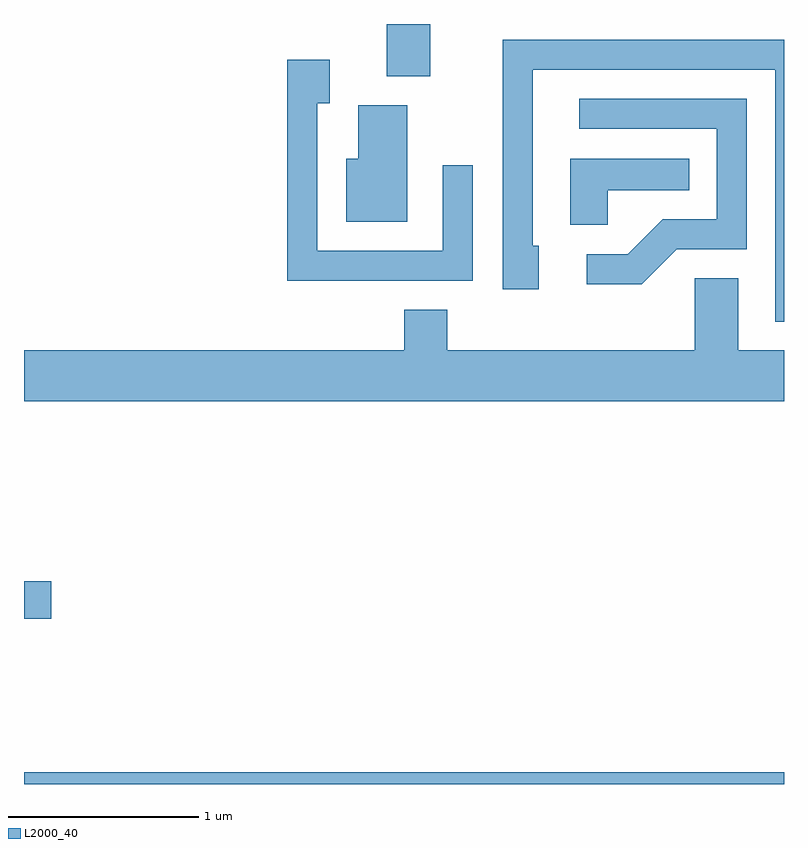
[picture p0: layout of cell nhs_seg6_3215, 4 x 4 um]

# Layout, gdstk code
import gdstk
lib = gdstk.Library(unit=1e-6, precision=1e-09)
def R(c, l, rs):  # rectangles x0, y0, x1, y1
    for r in rs: c.add(gdstk.rectangle(r[:2], r[2:], *l))
def P(c, l, *ps):  # polygons
    for p in ps: c.add(gdstk.Polygon(p, *l))
L2000_40 = (2000, 40)

nhs_seg6_3215 = lib.new_cell('nhs_seg6_3215')
R(nhs_seg6_3215, L2000_40, [(281.611,1630.162,285.611,1630.224), (281.611,1631.031,281.754,1631.229), (283.521,1633.886,283.749,1634.162)])
P(nhs_seg6_3215, L2000_40, [(285.611,1634.079),(284.131,1634.079),(284.131,1632.766),(284.319,1632.766),(284.319,1632.994),(284.289,1632.994),(284.289,1633.921),(285.566,1633.921),(285.566,1632.596),(285.611,1632.596)],
  [(283.974,1633.418),(283.816,1633.418),(283.816,1632.969),(283.154,1632.969),(283.154,1633.746),(283.219,1633.746),(283.219,1633.974),(282.996,1633.974),(282.996,1632.811),(283.974,1632.811)],
  [(285.047,1632.976),(285.414,1632.976),(285.414,1633.769),(284.533,1633.769),(284.533,1633.611),(285.256,1633.611),(285.256,1633.134),(284.974,1633.134),(284.789,1632.949),(284.573,1632.949),(284.573,1632.791),(284.862,1632.791)],
  [(283.629,1633.734),(283.371,1633.734),(283.371,1633.454),(283.306,1633.454),(283.306,1633.121),(283.629,1633.121)],
  [(284.684,1633.286),(285.113,1633.286),(285.113,1633.454),(284.486,1633.454),(284.486,1633.106),(284.684,1633.106)],
  [(285.611,1632.444),(285.369,1632.444),(285.369,1632.824),(285.141,1632.824),(285.141,1632.444),(283.839,1632.444),(283.839,1632.659),(283.611,1632.659),(283.611,1632.444),(281.611,1632.444),(281.611,1632.176),(285.611,1632.176)])

lib.write_gds('nhs_seg6_3215.gds')
